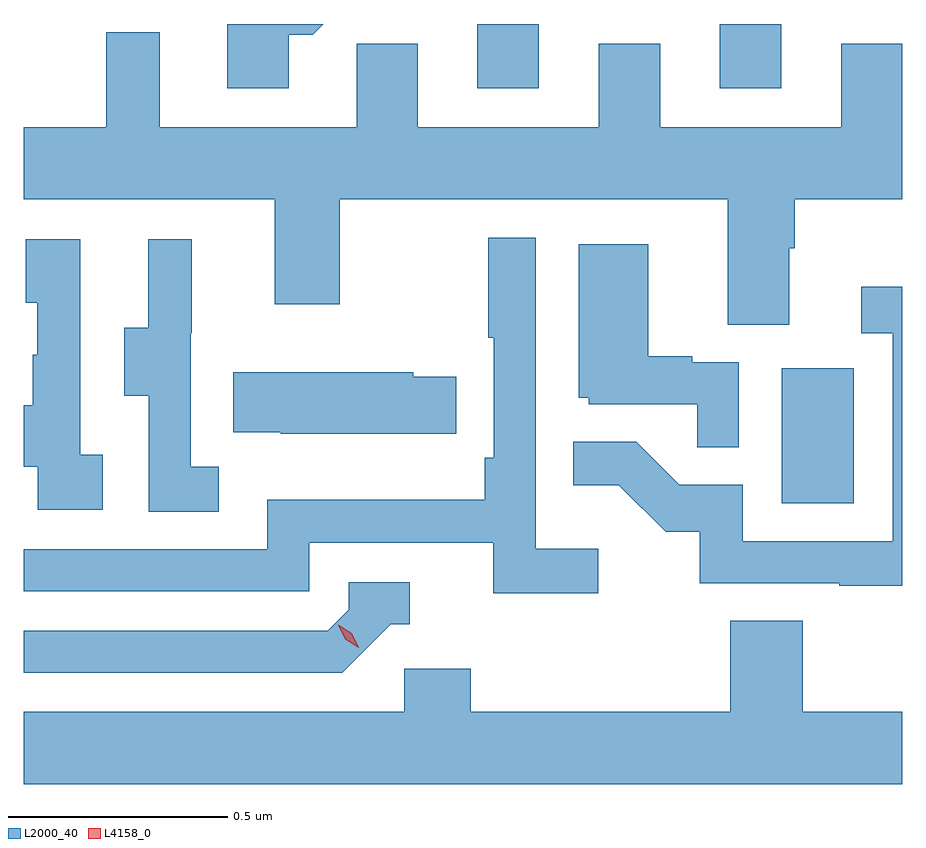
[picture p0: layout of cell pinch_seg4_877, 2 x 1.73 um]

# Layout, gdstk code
import gdstk
lib = gdstk.Library(unit=1e-6, precision=1e-09)
def R(c, l, rs):  # rectangles x0, y0, x1, y1
    for r in rs: c.add(gdstk.rectangle(r[:2], r[2:], *l))
def P(c, l, *ps):  # polygons
    for p in ps: c.add(gdstk.Polygon(p, *l))
L2000_40 = (2000, 40)
L4158_0 = (4158, 0)

pinch_seg4_877 = lib.new_cell('pinch_seg4_877')
R(pinch_seg4_877, L2000_40, [(842.24,797.46,842.404,797.767), (841.547,798.405,841.687,798.551), (842.099,798.405,842.239,798.551)])
P(pinch_seg4_877, L2000_40, [(841.117,798.527),(841.172,798.527),(841.196,798.551),(840.977,798.551),(840.977,798.405),(841.117,798.405)],
  [(842.257,798.04),(842.27,798.04),(842.27,798.152),(842.514,798.152),(842.514,798.506),(842.375,798.506),(842.375,798.316),(841.963,798.316),(841.963,798.506),(841.823,798.506),(841.823,798.316),(841.411,798.316),(841.411,798.506),(841.272,798.506),(841.272,798.316),(840.823,798.316),(840.823,798.532),(840.702,798.532),(840.702,798.316),(840.514,798.316),(840.514,798.152),(841.085,798.152),(841.085,797.913),(841.233,797.913),(841.233,798.152),(842.117,798.152),(842.117,797.866),(842.257,797.866)],
  [(841.822,797.356),(841.68,797.356),(841.68,798.064),(841.572,798.064),(841.572,797.836),(841.584,797.836),(841.584,797.563),(841.564,797.563),(841.564,797.467),(841.068,797.467),(841.068,797.355),(840.514,797.355),(840.514,797.259),(841.164,797.259),(841.164,797.37),(841.583,797.37),(841.583,797.254),(841.822,797.254)],
  [(840.694,797.57),(840.642,797.57),(840.642,798.061),(840.518,798.061),(840.518,797.916),(840.544,797.916),(840.544,797.798),(840.534,797.798),(840.534,797.683),(840.514,797.683),(840.514,797.543),(840.546,797.543),(840.546,797.445),(840.694,797.445)],
  [(840.958,797.543),(840.894,797.543),(840.894,797.847),(840.896,797.847),(840.896,798.061),(840.797,798.061),(840.797,797.859),(840.743,797.859),(840.743,797.704),(840.798,797.704),(840.798,797.44),(840.958,797.44)],
  [(842.142,797.781),(842.036,797.781),(842.036,797.794),(841.936,797.794),(841.936,798.049),(841.778,798.049),(841.778,797.7),(841.8,797.7),(841.8,797.685),(842.047,797.685),(842.047,797.587),(842.142,797.587)],
  [(842.514,797.953),(842.421,797.953),(842.421,797.847),(842.493,797.847),(842.493,797.373),(842.151,797.373),(842.151,797.502),(842.007,797.502),(841.909,797.6),(841.765,797.6),(841.765,797.501),(841.869,797.501),(841.976,797.394),(842.053,797.394),(842.053,797.277),(842.371,797.277),(842.371,797.272),(842.514,797.272)],
  [(841.499,797.748),(841.401,797.748),(841.401,797.758),(840.991,797.758),(840.991,797.621),(841.099,797.621),(841.099,797.618),(841.499,797.618)],
  [(841.35,797.184),(841.393,797.184),(841.393,797.28),(841.254,797.28),(841.254,797.217),(841.206,797.169),(840.514,797.169),(840.514,797.073),(841.239,797.073)],
  [(842.514,796.984),(842.288,796.984),(842.288,797.192),(842.123,797.192),(842.123,796.984),(841.532,796.984),(841.532,797.082),(841.38,797.082),(841.38,796.984),(840.514,796.984),(840.514,796.82),(842.514,796.82)])
P(pinch_seg4_877, L4158_0, [(841.276,797.13),(841.246,797.15),(841.23,797.183),(841.23,797.183),(841.23,797.183),(841.261,797.163),(841.277,797.13),(841.277,797.13)])

lib.write_gds('pinch_seg4_877.gds')
